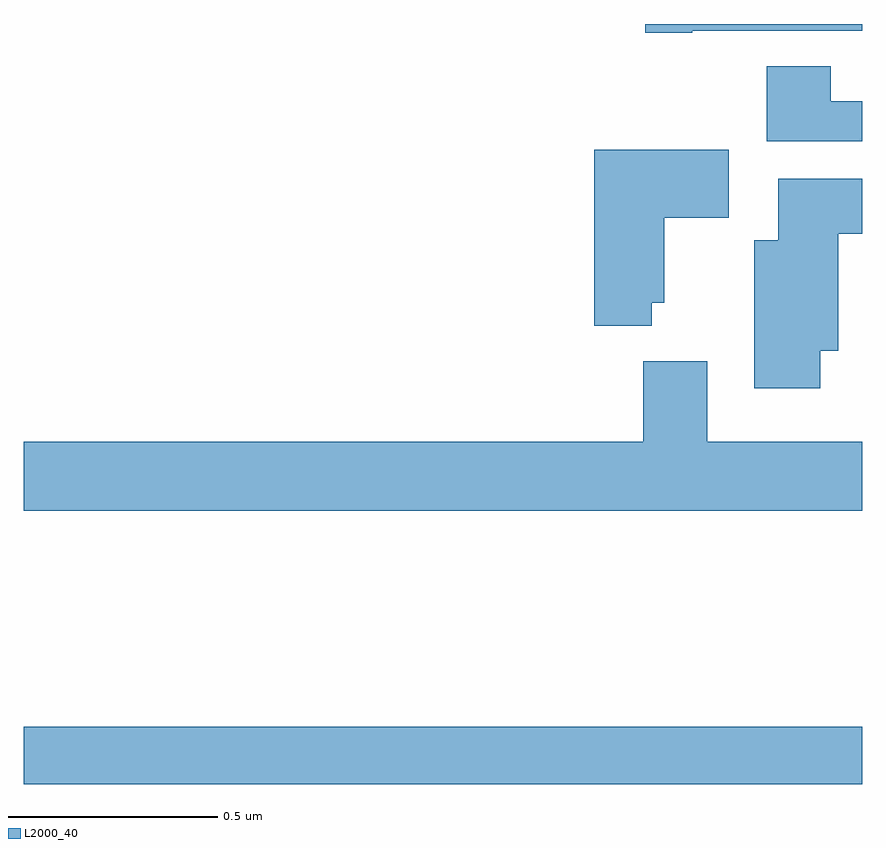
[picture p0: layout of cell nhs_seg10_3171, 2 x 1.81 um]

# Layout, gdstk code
import gdstk
lib = gdstk.Library(unit=1e-6, precision=1e-09)
def R(c, l, rs):  # rectangles x0, y0, x1, y1
    for r in rs: c.add(gdstk.rectangle(r[:2], r[2:], *l))
def P(c, l, *ps):  # polygons
    for p in ps: c.add(gdstk.Polygon(p, *l))
L2000_40 = (2000, 40)

nhs_seg10_3171 = lib.new_cell('nhs_seg10_3171')
R(nhs_seg10_3171, L2000_40, [(150,1275.688,152,1275.824)])
P(nhs_seg10_3171, L2000_40, [(151.594,1277.484),(152,1277.484),(152,1277.5),(151.482,1277.5),(151.482,1277.479),(151.594,1277.479)],
  [(152,1277.316),(151.924,1277.316),(151.924,1277.399),(151.772,1277.399),(151.772,1277.22),(152,1277.22)],
  [(151.498,1276.835),(151.528,1276.835),(151.528,1277.038),(151.681,1277.038),(151.681,1277.2),(151.361,1277.2),(151.361,1276.781),(151.498,1276.781)],
  [(151.9,1276.721),(151.942,1276.721),(151.942,1277),(152,1277),(152,1277.131),(151.799,1277.131),(151.799,1276.984),(151.742,1276.984),(151.742,1276.632),(151.9,1276.632)],
  [(152,1276.504),(151.63,1276.504),(151.63,1276.696),(151.478,1276.696),(151.478,1276.504),(150,1276.504),(150,1276.34),(152,1276.34)])

lib.write_gds('nhs_seg10_3171.gds')
